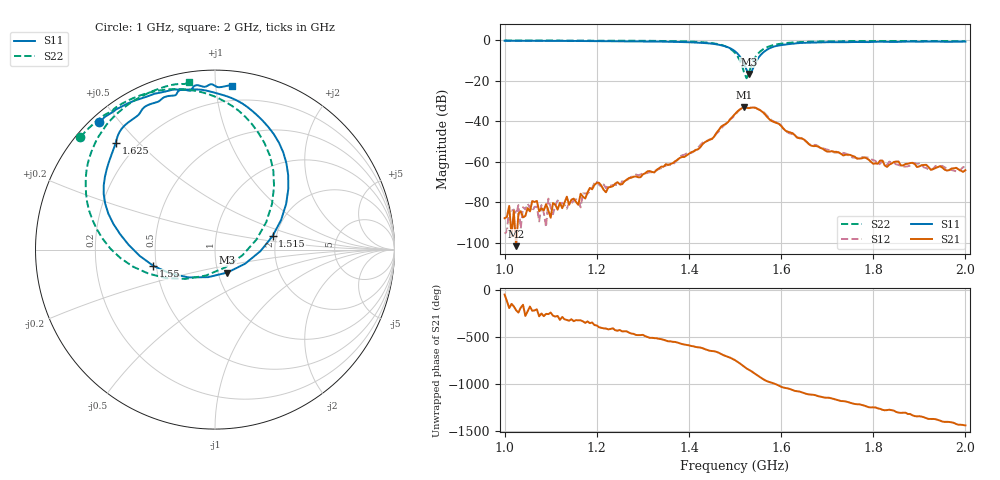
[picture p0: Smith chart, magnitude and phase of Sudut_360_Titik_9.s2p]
# Hz S RI R 50
! CMT, C1220, 16058040, 17.2.0/1
! Date: 14/08/2018 12:00:17
! Data: Format (Calibration Info)
! Freq  S11: Re/Im (F2)  S21: Re/Im (F2)  S12: Re/Im (F2)  S22: Re/Im (F2)
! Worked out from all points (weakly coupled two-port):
!   201 points, 1 GHz to 2 GHz, reference 50 ohm
!   highest |S21| = -33.15 dB at 1.52 GHz (marker M1); lowest = -101.5 dB at 1.025 GHz (marker M2)
!   lowest |S11| = -16.8 dB at 1.53 GHz (marker M3), VSWR 1.34, Z = 55.5 - j14.5 ohm
!   |S11| at or under -10 dB: 1.516 GHz to 1.547 GHz (31.66 MHz wide, 2.07 % of centre)
!   |S22| runs from -18.8 to -0.2 dB; largest |S21 - S12| = 0.00095
!   S11 on the Smith chart (normalised r, x): 1 GHz: 0.02, +0.44; 1.515 GHz: 1.91, +0.32; 1.55 GHz: 0.48, -0.10; 1.625 GHz: 0.12, +0.43; 2 GHz: 0.10, +1.10
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1e9  -0.6444 0.7124  2.43e-05 -3.29e-05  -1.32e-05 1.07e-05  -0.7499 0.6269
1.025e9  -0.6217 0.7312  -6.35e-06 5.44e-06  2.42e-06 5.13e-05  -0.733 0.6457
1.13e9  -0.5109 0.8014  7.13e-05 6.76e-05  5.81e-05 6.39e-05  -0.6513 0.7232
1.135e9  -0.5048 0.8043  0.000112 8.22e-05  3.84e-05 5.77e-05  -0.6466 0.7271
1.16e9  -0.4843 0.8147  7.35e-05 4.69e-05  8.38e-05 8.51e-05  -0.6228 0.7453
1.165e9  -0.4784 0.8177  0.000138 8.86e-05  5.34e-05 5.34e-05  -0.6178 0.7489
1.17e9  -0.471 0.8208  0.000129 4.95e-05  0.000152 6.85e-05  -0.6122 0.7522
1.2e9  -0.4281 0.8364  0.000281 -0.000116  0.000302 -0.000154  -0.5781 0.7655
1.22e9  -0.4086 0.8429  0.000102 -0.000146  0.000115 -0.000194  -0.5672 0.7791
1.335e9  -0.2134 0.8918  -0.000666 -0.000187  -0.000647 -0.000165  -0.3956 0.8659
1.45e9  0.1813 0.7936  0.00146 0.00334  0.00172 0.00328  0.0268 0.8397
1.5e9  0.4084 0.3379  0.0129 -0.00782  0.0121 -0.00738  0.3291 0.3508
1.515e9  0.3209 0.0755  0.00288 -0.0208  0.0035 -0.0209  0.2304 0.0552
1.52e9  0.2539 -0.00785  -0.0041 -0.0216  -0.00385 -0.0219  0.153 -0.0315
1.53e9  0.0693 -0.1277  -0.0142 -0.0155  -0.0143 -0.0157  -0.0508 -0.1446
1.55e9  -0.3431 -0.0907  -0.0188 0.00638  -0.019 0.00567  -0.4554 -0.0958
1.58e9  -0.6119 0.256  0.000239 0.0101  0.000726 0.0105  -0.7015 0.2174
1.625e9  -0.553 0.596  0.00496 0.00106  0.00469 0.00112  -0.6965 0.5221
1.67e9  -0.4407 0.739  0.0019 -0.00153  0.00205 -0.00161  -0.6203 0.6735
1.81e9  -0.1966 0.8882  -0.000897 5.4e-05  -0.000821 0.000173  -0.4037 0.8571
1.835e9  -0.1468 0.8856  -0.000813 0.000257  -0.000956 0.000337  -0.3702 0.8735
2e9  0.0926 0.912  0.000621 -5.51e-05  0.000713 -9.23e-05  -0.1467 0.931
